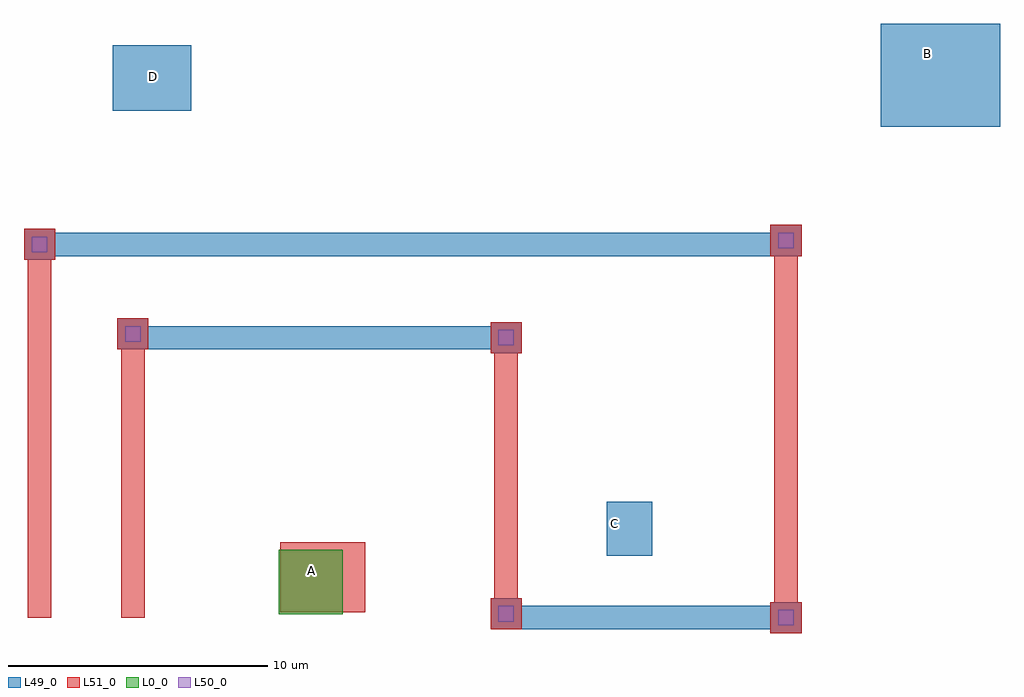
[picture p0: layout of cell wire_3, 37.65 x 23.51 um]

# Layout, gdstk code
from math import pi, radians
import gdstk
lib = gdstk.Library(unit=1e-6, precision=1e-09)
def R(c, l, rs):  # rectangles x0, y0, x1, y1
    for r in rs: c.add(gdstk.rectangle(r[:2], r[2:], *l))
L0_0 = (0, 0)
L49_0 = (49, 0)
L50_0 = (50, 0)
L51_0 = (51, 0)

metal1_via1_metal2_1x1 = lib.new_cell('metal1_via1_metal2_1x1')
R(metal1_via1_metal2_1x1, L49_0, [(0,0,1.2,1.2)])
R(metal1_via1_metal2_1x1, L50_0, [(0.3,0.3,0.9,0.9)])
R(metal1_via1_metal2_1x1, L51_0, [(0,0,1.2,1.2)])

wire_3 = lib.new_cell('wire_3')
R(wire_3, L0_0, [(5.62,0.135,8.1,2.62)])
R(wire_3, L49_0, [(14.4,-0.45,25.2,0.45), (14.4,-0.45,25.2,0.45), (24.75,-0.45,25.65,0.45), (24.75,-0.45,25.65,0.45), (13.95,-0.3,14.85,0.6), (13.95,-0.3,14.85,0.6), (18.275,2.38,20.035,4.48), (0,10.35,3.6,11.25), (0,10.35,3.6,11.25), (3.6,10.35,14.4,11.25), (3.6,10.35,14.4,11.25), (13.95,10.35,14.85,11.25), (13.95,10.35,14.85,11.25), (-0.45,10.5,0.45,11.4), (-0.45,10.5,0.45,11.4), (-4.05,13.95,-3.15,14.85), (-4.05,13.95,-3.15,14.85), (-3.6,13.95,25.2,14.85), (-3.6,13.95,25.2,14.85), (24.75,14.1,25.65,15), (24.75,14.1,25.65,15), (28.86,18.93,33.455,22.91), (-0.77,19.555,2.26,22.09)])
R(wire_3, L51_0, [(24.75,-0.45,25.65,0.45), (24.75,-0.45,25.65,0.45), (13.95,-0.3,14.85,0.6), (13.95,-0.3,14.85,0.6), (-4.05,0,-3.15,14.4), (-4.05,0,-3.15,14.4), (-0.45,0,0.45,10.8), (-0.45,0,0.45,10.8), (13.95,0,14.85,10.8), (13.95,0,14.85,10.8), (24.75,0,25.65,14.4), (24.75,0,25.65,14.4), (5.695,0.21,8.965,2.905), (13.95,10.35,14.85,11.25), (13.95,10.35,14.85,11.25), (-0.45,10.5,0.45,11.4), (-0.45,10.5,0.45,11.4), (-4.05,13.95,-3.15,14.85), (-4.05,13.95,-3.15,14.85), (24.75,14.1,25.65,15), (24.75,14.1,25.65,15)])
wire_3.add(gdstk.Reference(metal1_via1_metal2_1x1, (0.6,10.35), rotation=pi/2))
wire_3.add(gdstk.Reference(metal1_via1_metal2_1x1, (15,10.2), rotation=pi/2))
wire_3.add(gdstk.Reference(metal1_via1_metal2_1x1, (15,-0.45), rotation=pi/2))
wire_3.add(gdstk.Reference(metal1_via1_metal2_1x1, (25.8,-0.6), rotation=pi/2))
wire_3.add(gdstk.Reference(metal1_via1_metal2_1x1, (25.8,13.95), rotation=pi/2))
wire_3.add(gdstk.Reference(metal1_via1_metal2_1x1, (-3,13.8), rotation=pi/2))
wire_3.add(gdstk.Reference(metal1_via1_metal2_1x1, (0.6,10.35), rotation=pi/2))
wire_3.add(gdstk.Reference(metal1_via1_metal2_1x1, (15,10.2), rotation=pi/2))
wire_3.add(gdstk.Reference(metal1_via1_metal2_1x1, (15,-0.45), rotation=pi/2))
wire_3.add(gdstk.Reference(metal1_via1_metal2_1x1, (25.8,-0.6), rotation=pi/2))
wire_3.add(gdstk.Reference(metal1_via1_metal2_1x1, (25.8,13.95), rotation=pi/2))
wire_3.add(gdstk.Reference(metal1_via1_metal2_1x1, (-3,13.8), rotation=pi/2))
wire_3.add(gdstk.Label('B', (30.655,21.77), layer=49, texttype=0))
wire_3.add(gdstk.Label('C', (18.565,3.615), layer=49, texttype=0))
wire_3.add(gdstk.Label('D', (0.79,20.895), layer=49, texttype=0))
wire_3.add(gdstk.Label('A', (6.885,1.805), layer=51, texttype=0))

lib.write_gds('wire_3.gds')
